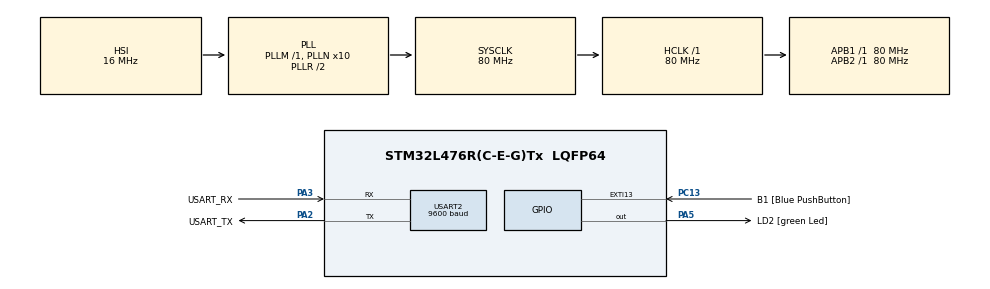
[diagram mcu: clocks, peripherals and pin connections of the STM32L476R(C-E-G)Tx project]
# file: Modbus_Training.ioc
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Mcu.Family=STM32L4
PA2.GPIO_PuPd=GPIO_NOPULL
VP_SYS_VS_tim6.Mode=TIM6
RCC.CortexFreq_Value=80000000
NVIC.TIM6_DAC_IRQn=true\:0\:0\:false\:false\:true\:false\:false\:true
PH0-OSC_IN\ (PH0).Signal=RCC_OSC_IN
PA3.GPIO_PuPd=GPIO_NOPULL
PA2.GPIO_Speed=GPIO_SPEED_FREQ_VERY_HIGH
PC15-OSC32_OUT\ (PC15).Mode=LSE-External-Oscillator
PC13.GPIO_Label=B1 [Blue PushButton]
PA3.GPIO_Speed=GPIO_SPEED_FREQ_VERY_HIGH
RCC.SYSCLKSource=RCC_SYSCLKSOURCE_PLLCLK
ProjectManager.StackSize=0x400
PC14-OSC32_IN\ (PC14).Mode=LSE-External-Oscillator
PA14\ (JTCK-SWCLK).Signal=SYS_JTCK-SWCLK
RCC.HCLKFreq_Value=80000000
RCC.APB2TimFreq_Value=80000000
RCC.AHBFreq_Value=80000000
RCC.PREFETCH_ENABLE=1
PH1-OSC_OUT\ (PH1).Mode=HSE-External-Oscillator
RCC.HSE_VALUE=8000000
USART2.VirtualMode-Asynchronous=VM_ASYNC
PA5.GPIO_PuPd=GPIO_NOPULL
PC13.GPIO_PuPd=GPIO_NOPULL
VP_FREERTOS_VS_CMSIS_V1.Mode=CMSIS_V1
Mcu.Package=LQFP64
NVIC.TimeBase=TIM6_DAC_IRQn
PA2.GPIO_Label=USART_TX
NVIC.TimeBaseIP=TIM6
RCC.APB1TimFreq_Value=80000000
PA13\ (JTMS-SWDIO).Signal=SYS_JTMS-SWDIO
PH0-OSC_IN\ (PH0).Mode=HSE-External-Oscillator
PA3.Signal=USART2_RX
PA2.GPIO_Mode=GPIO_MODE_AF_PP
RCC.MSI_VALUE=4000000
RCC.PLLSourceVirtual=RCC_PLLSOURCE_HSI
PA14\ (JTCK-SWCLK).Mode=Serial_Wire
FREERTOS.Tasks01=defaultTask,0,128,StartDefaultTask,Default,NULL,Dynamic,NULL,NULL
PC13.Signal=GPXTI13
PC15-OSC32_OUT\ (PC15).Signal=RCC_OSC32_OUT
PA14\ (JTCK-SWCLK).GPIO_Label=TCK
NVIC.USART2_IRQn=true\:5\:0\:false\:false\:true\:true\:true\:true
USART2.BaudRate=9600
PH1-OSC_OUT\ (PH1).Signal=RCC_OSC_OUT
PA3.Mode=Asynchronous
ProjectManager.TargetToolchain=STM32CubeIDE
PA3.GPIO_Mode=GPIO_MODE_AF_PP
RCC.USBFreq_Value=64000000
PA5.Signal=GPIO_Output
board=NUCLEO-L476RG
RCC.VCOOutputFreq_Value=160000000
RCC.APB2Freq_Value=80000000
PA5.GPIO_ModeDefaultOutputPP=GPIO_MODE_OUTPUT_PP
PA13\ (JTMS-SWDIO).GPIO_Label=TMS
RCC.ADCFreq_Value=64000000
Mcu.Name=STM32L476R(C-E-G)Tx
PA2.Signal=USART2_TX
PA13\ (JTMS-SWDIO).Mode=Serial_Wire
RCC.SYSCLKFreq_VALUE=80000000
PA5.GPIO_Label=LD2 [green Led]
PC13.GPIO_ModeDefaultEXTI=GPIO_MODE_IT_FALLING
PC14-OSC32_IN\ (PC14).Signal=RCC_OSC32_IN
ProjectManager.HeapSize=0x200
RCC.HSI_VALUE=16000000
PA5.GPIO_Speed=GPIO_SPEED_FREQ_LOW
NVIC.PriorityGroup=NVIC_PRIORITYGROUP_4
RCC.PLLN=10
PA2.Mode=Asynchronous
RCC.APB1Freq_Value=80000000
PA3.GPIO_Label=USART_RX

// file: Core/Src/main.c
/* USER CODE BEGIN Header */
/**
  ******************************************************************************
  * @file           : main.c
  * @brief          : Main program body
  ******************************************************************************
  * @attention
  *
  * <h2><center>&copy; Copyright (c) 2021 STMicroelectronics.
  * All rights reserved.</center></h2>
  *
  * This software component is licensed by ST under BSD 3-Clause license,
  * the "License"; You may not use this file except in compliance with the
  * License. You may obtain a copy of the License at:
  *                        opensource.org/licenses/BSD-3-Clause
  *
  ******************************************************************************
  */
/* USER CODE END Header */
#include "main.h"
#include "cmsis_os.h"

/* USER CODE BEGIN Includes */
#include "RTU/Slave/ModbusRtu_Slave.h"
#include "Core/ModbusApp.h"
#include "ModbusRegistersMap.h"
#include "stdbool.h"
#include <stdio.h>
/* USER CODE END Includes */

/* USER CODE BEGIN PD */
#define MODBUS_SLAVE_DEV_ID   				7
/* USER CODE END PD */

UART_HandleTypeDef huart2;

osThreadId defaultTaskHandle;
/* USER CODE BEGIN PV */

//coils
bool coilCWVal = 0;
bool coilCCWVal = 0;

uint16_t currentDrawnByMotorVal = 0;
uint16_t activeResistanceVal = 0;
uint16_t currentVal = 0;
uint16_t inputVoltageVal = 0;

uint16_t motorStolCurrentVal = 0;
uint16_t motorStolTimeVal = 0;
uint16_t pwmCWVal = 0;
uint16_t pwmCCWVal = 0;

ModbusRtu_Config_t    _rtuConfig;
/* USER CODE END PV */

void SystemClock_Config(void);
static void MX_GPIO_Init(void);
static void MX_USART2_UART_Init(void);
void StartDefaultTask(void const * argument);

/* USER CODE BEGIN 0 */
void ModbusRtu_TransmitCallback( uint8_t* buffer, uint16_t lengthOfBuffer){
	HAL_UART_Transmit( &huart2, buffer, lengthOfBuffer, 200 );
}

void HAL_UART_ErrorCallback(UART_HandleTypeDef *huart){
	if( huart->Instance == USART2){
		HAL_GPIO_TogglePin( LD2_GPIO_Port, LD2_Pin );
	}
}

void ModbusRtu_InitCallback(){
	//HAL_UART_Receive_IT( &huart2, &data, 1);
}

void ModbusRtu_ReadRequestCallback( uint8_t* buffer, uint16_t length ){
	HAL_UART_Receive_IT(&huart2, buffer, length );
}

void HAL_UART_RxCpltCallback(UART_HandleTypeDef *huart){
	if( huart->Instance == USART2 ){
		ModbusRtu_Slave_onReceive();
	}
}

/* USER CODE END 0 */

int main(void)
{
  /* USER CODE BEGIN 1 */
	_rtuConfig.init = ModbusRtu_InitCallback;
	_rtuConfig.send = ModbusRtu_TransmitCallback;
	_rtuConfig.requestRead = ModbusRtu_ReadRequestCallback;
	_rtuConfig.id = MODBUS_SLAVE_DEV_ID;

	ModbusRtu_Slave_Init(&_rtuConfig);

	//COILS
	coilCCWRegHandle = ModbusSlave_CreateCoilStatus(COIL_CCW, coilCCWVal);
	coilCWRegHandle = ModbusSlave_CreateCoilStatus(COIL_CW, coilCWVal);

	//INPUT REGISTERS
	currentDrawnByMotorRegHandle = ModbusSlave_CreateInputRegister(CURRENT_DRAWN_BY_MOTOR, currentDrawnByMotorVal);
	currentValueRegHandle = ModbusSlave_CreateInputRegister(CURRENT_VALUE, currentVal);
	inputVoltageRegHandle = ModbusSlave_CreateInputRegister(INPUT_VOLTAGE, inputVoltageVal);
	activeResistanceValueRegHandle = ModbusSlave_CreateInputRegister(ACTIVE_RESISTANCE_VALUE, activeResistanceVal);

	//HOLDING REGISTERS
	motorStolCurrentRegHandle = ModbusSlave_CreateHoldingRegister(MOTOR_STOL_CURRENT, motorStolCurrentVal);
	motorStolTimeRegHandle = ModbusSlave_CreateHoldingRegister(MOTOR_STOL_TIME, motorStolTimeVal);
	pwmCCWRegHandle = ModbusSlave_CreateHoldingRegister(PWM_COUNTERCLOCKWISE, pwmCCWVal);
	pwmCWRegHandle = ModbusSlave_CreateHoldingRegister(PWM_CLOCKWISE, pwmCWVal);

  /* USER CODE END 1 */

  /* MCU Configuration--------------------------------------------------------*/

  /* Reset of all peripherals, Initializes the Flash interface and the Systick. */
  HAL_Init();

  /* Configure the system clock */
  SystemClock_Config();

  /* Initialize all configured peripherals */
  MX_GPIO_Init();
  MX_USART2_UART_Init();

  /* Create the thread(s) */
  /* definition and creation of defaultTask */
  osThreadDef(defaultTask, StartDefaultTask, osPriorityNormal, 0, 128);
  defaultTaskHandle = osThreadCreate(osThread(defaultTask), NULL);

  /* Start scheduler */
  osKernelStart();

  /* We should never get here as control is now taken by the scheduler */
  /* Infinite loop */
  while (1)
  {

  }
}

void SystemClock_Config(void)
{
  RCC_OscInitTypeDef RCC_OscInitStruct = {0};
  RCC_ClkInitTypeDef RCC_ClkInitStruct = {0};
  RCC_PeriphCLKInitTypeDef PeriphClkInit = {0};

  /** Initializes the RCC Oscillators according to the specified parameters
  * in the RCC_OscInitTypeDef structure.
  */
  RCC_OscInitStruct.OscillatorType = RCC_OSCILLATORTYPE_HSI;
  RCC_OscInitStruct.HSIState = RCC_HSI_ON;
  RCC_OscInitStruct.HSICalibrationValue = RCC_HSICALIBRATION_DEFAULT;
  RCC_OscInitStruct.PLL.PLLState = RCC_PLL_ON;
  RCC_OscInitStruct.PLL.PLLSource = RCC_PLLSOURCE_HSI;
  RCC_OscInitStruct.PLL.PLLM = 1;
  RCC_OscInitStruct.PLL.PLLN = 10;
  RCC_OscInitStruct.PLL.PLLP = RCC_PLLP_DIV7;
  RCC_OscInitStruct.PLL.PLLQ = RCC_PLLQ_DIV2;
  RCC_OscInitStruct.PLL.PLLR = RCC_PLLR_DIV2;
  if (HAL_RCC_OscConfig(&RCC_OscInitStruct) != HAL_OK)
  {
    Error_Handler();
  }
  /** Initializes the CPU, AHB and APB buses clocks
  */
  RCC_ClkInitStruct.ClockType = RCC_CLOCKTYPE_HCLK|RCC_CLOCKTYPE_SYSCLK
                              |RCC_CLOCKTYPE_PCLK1|RCC_CLOCKTYPE_PCLK2;
  RCC_ClkInitStruct.SYSCLKSource = RCC_SYSCLKSOURCE_PLLCLK;
  RCC_ClkInitStruct.AHBCLKDivider = RCC_SYSCLK_DIV1;
  RCC_ClkInitStruct.APB1CLKDivider = RCC_HCLK_DIV1;
  RCC_ClkInitStruct.APB2CLKDivider = RCC_HCLK_DIV1;

  if (HAL_RCC_ClockConfig(&RCC_ClkInitStruct, FLASH_LATENCY_4) != HAL_OK)
  {
    Error_Handler();
  }
  PeriphClkInit.PeriphClockSelection = RCC_PERIPHCLK_USART2;
  PeriphClkInit.Usart2ClockSelection = RCC_USART2CLKSOURCE_PCLK1;
  if (HAL_RCCEx_PeriphCLKConfig(&PeriphClkInit) != HAL_OK)
  {
    Error_Handler();
  }
  /** Configure the main internal regulator output voltage
  */
  if (HAL_PWREx_ControlVoltageScaling(PWR_REGULATOR_VOLTAGE_SCALE1) != HAL_OK)
  {
    Error_Handler();
  }
}

static void MX_USART2_UART_Init(void)
{

  huart2.Instance = USART2;
  huart2.Init.BaudRate = 9600;
  huart2.Init.WordLength = UART_WORDLENGTH_8B;
  huart2.Init.StopBits = UART_STOPBITS_1;
  huart2.Init.Parity = UART_PARITY_NONE;
  huart2.Init.Mode = UART_MODE_TX_RX;
  huart2.Init.HwFlowCtl = UART_HWCONTROL_NONE;
  huart2.Init.OverSampling = UART_OVERSAMPLING_16;
  huart2.Init.OneBitSampling = UART_ONE_BIT_SAMPLE_DISABLE;
  huart2.AdvancedInit.AdvFeatureInit = UART_ADVFEATURE_NO_INIT;
  if (HAL_UART_Init(&huart2) != HAL_OK)
  {
    Error_Handler();
  }

}

static void MX_GPIO_Init(void)
{
  GPIO_InitTypeDef GPIO_InitStruct = {0};

  /* GPIO Ports Clock Enable */
  __HAL_RCC_GPIOC_CLK_ENABLE();
  __HAL_RCC_GPIOH_CLK_ENABLE();
  __HAL_RCC_GPIOA_CLK_ENABLE();

  /*Configure GPIO pin Output Level */
  HAL_GPIO_WritePin(LD2_GPIO_Port, LD2_Pin, GPIO_PIN_RESET);

  /*Configure GPIO pin : B1_Pin */
  GPIO_InitStruct.Pin = B1_Pin;
  GPIO_InitStruct.Mode = GPIO_MODE_IT_FALLING;
  GPIO_InitStruct.Pull = GPIO_NOPULL;
  HAL_GPIO_Init(B1_GPIO_Port, &GPIO_InitStruct);

  /*Configure GPIO pin : LD2_Pin */
  GPIO_InitStruct.Pin = LD2_Pin;
  GPIO_InitStruct.Mode = GPIO_MODE_OUTPUT_PP;
  GPIO_InitStruct.Pull = GPIO_NOPULL;
  GPIO_InitStruct.Speed = GPIO_SPEED_FREQ_LOW;
  HAL_GPIO_Init(LD2_GPIO_Port, &GPIO_InitStruct);

}

void StartDefaultTask(void const * argument)
{
  /* USER CODE BEGIN 5 */
  /* Infinite loop */
  for(;;)
  {

	  ModbusSlave_SetRegisterValue(&currentDrawnByMotorRegHandle, 10);
	  ModbusSlave_SetRegisterValue(&currentValueRegHandle, 15);
	  ModbusSlave_SetRegisterValue(&inputVoltageRegHandle, 25);
	  ModbusSlave_SetRegisterValue(&activeResistanceValueRegHandle, 35);
    osDelay(1);
  }
  /* USER CODE END 5 */
}

 /**
  * @brief  Period elapsed callback in non blocking mode
  * @note   This function is called  when TIM6 interrupt took place, inside
  * HAL_TIM_IRQHandler(). It makes a direct call to HAL_IncTick() to increment
  * a global variable "uwTick" used as application time base.
  * @param  htim : TIM handle
  * @retval None
  */
void HAL_TIM_PeriodElapsedCallback(TIM_HandleTypeDef *htim)
{
  if (htim->Instance == TIM6) {
    HAL_IncTick();
  }
}

void Error_Handler(void)
{
  __disable_irq();
  while (1)
  {
  }
}

/************************ (C) COPYRIGHT STMicroelectronics *****END OF FILE****/
